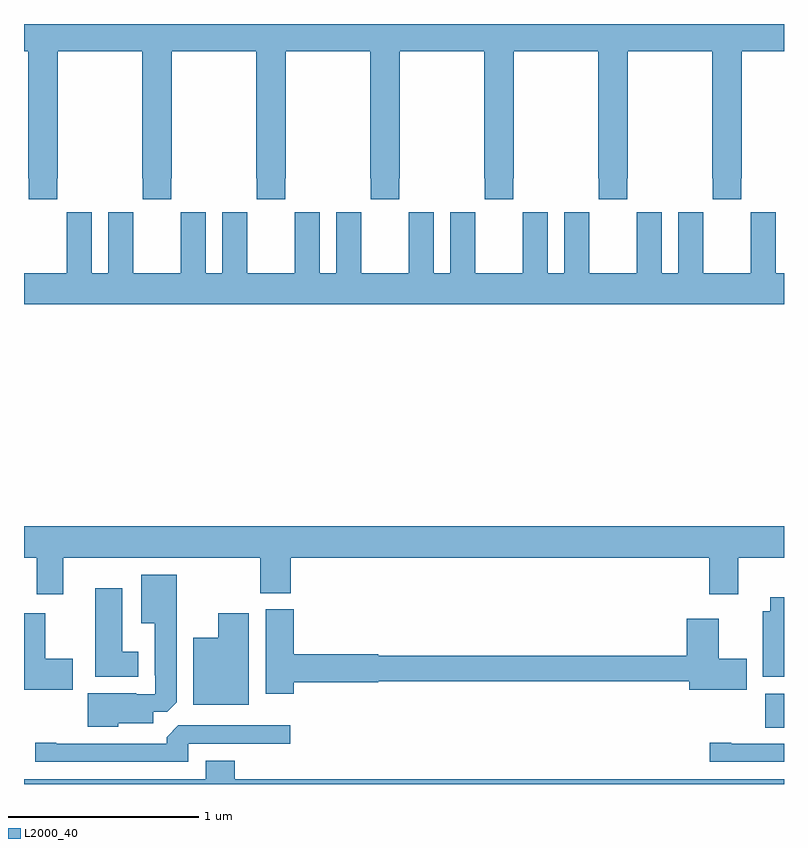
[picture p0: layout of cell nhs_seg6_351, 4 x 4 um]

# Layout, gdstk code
import gdstk
lib = gdstk.Library(unit=1e-6, precision=1e-09)
def R(c, l, rs):  # rectangles x0, y0, x1, y1
    for r in rs: c.add(gdstk.rectangle(r[:2], r[2:], *l))
def P(c, l, *ps):  # polygons
    for p in ps: c.add(gdstk.Polygon(p, *l))
L2000_40 = (2000, 40)

nhs_seg6_351 = lib.new_cell('nhs_seg6_351')
R(nhs_seg6_351, L2000_40, [(134.9,923.797,135,923.976)])
P(nhs_seg6_351, L2000_40, [(133.423,926.689),(133.425,926.689),(133.425,926.577),(133.575,926.577),(133.575,926.689),(133.578,926.689),(133.578,927.356),(134.023,927.356),(134.023,926.689),(134.025,926.689),(134.025,926.577),(134.175,926.577),(134.175,926.689),(134.178,926.689),(134.178,927.356),(134.623,927.356),(134.623,926.689),(134.625,926.689),(134.625,926.577),(134.775,926.577),(134.775,926.689),(134.778,926.689),(134.778,927.356),(135,927.356),(135,927.5),(131,927.5),(131,927.356),(131.023,927.356),(131.023,926.689),(131.025,926.689),(131.025,926.577),(131.175,926.577),(131.175,926.689),(131.178,926.689),(131.178,927.356),(131.623,927.356),(131.623,926.689),(131.625,926.689),(131.625,926.577),(131.775,926.577),(131.775,926.689),(131.778,926.689),(131.778,927.356),(132.223,927.356),(132.223,926.689),(132.225,926.689),(132.225,926.577),(132.375,926.577),(132.375,926.689),(132.378,926.689),(132.378,927.356),(132.823,927.356),(132.823,926.689),(132.825,926.689),(132.825,926.577),(132.975,926.577),(132.975,926.689),(132.978,926.689),(132.978,927.356),(133.423,927.356)],
  [(135,926.188),(134.956,926.188),(134.956,926.509),(134.826,926.509),(134.826,926.396),(134.825,926.396),(134.825,926.188),(134.575,926.188),(134.575,926.396),(134.574,926.396),(134.574,926.509),(134.444,926.509),(134.444,926.188),(134.356,926.188),(134.356,926.509),(134.226,926.509),(134.226,926.396),(134.225,926.396),(134.225,926.188),(133.975,926.188),(133.975,926.396),(133.974,926.396),(133.974,926.509),(133.844,926.509),(133.844,926.188),(133.756,926.188),(133.756,926.509),(133.626,926.509),(133.626,926.396),(133.625,926.396),(133.625,926.188),(133.375,926.188),(133.375,926.396),(133.374,926.396),(133.374,926.509),(133.244,926.509),(133.244,926.188),(133.156,926.188),(133.156,926.509),(133.026,926.509),(133.026,926.396),(133.025,926.396),(133.025,926.188),(132.775,926.188),(132.775,926.396),(132.774,926.396),(132.774,926.509),(132.644,926.509),(132.644,926.188),(132.556,926.188),(132.556,926.509),(132.426,926.509),(132.426,926.396),(132.425,926.396),(132.425,926.188),(132.175,926.188),(132.175,926.396),(132.174,926.396),(132.174,926.509),(132.044,926.509),(132.044,926.188),(131.956,926.188),(131.956,926.509),(131.826,926.509),(131.826,926.396),(131.825,926.396),(131.825,926.188),(131.575,926.188),(131.575,926.396),(131.574,926.396),(131.574,926.509),(131.444,926.509),(131.444,926.188),(131.356,926.188),(131.356,926.509),(131.226,926.509),(131.226,926.396),(131.225,926.396),(131.225,926.188),(131,926.188),(131,926.024),(135,926.024)],
  [(131.206,924.692),(132.244,924.692),(132.244,924.505),(132.404,924.505),(132.404,924.692),(134.606,924.692),(134.606,924.498),(134.758,924.498),(134.758,924.692),(135,924.692),(135,924.856),(131,924.856),(131,924.692),(131.066,924.692),(131.066,924.498),(131.206,924.498)],
  [(131.496,923.819),(131.68,923.819),(131.68,923.88),(131.754,923.88),(131.803,923.929),(131.803,924.601),(131.618,924.601),(131.618,924.347),(131.687,924.347),(131.687,924.073),(131.691,924.073),(131.691,923.973),(131.591,923.973),(131.591,923.977),(131.336,923.977),(131.336,923.801),(131.496,923.801)],
  [(131.602,924.196),(131.518,924.196),(131.518,924.529),(131.375,924.529),(131.375,924.065),(131.602,924.065)],
  [(135,924.484),(134.927,924.484),(134.927,924.409),(134.888,924.409),(134.888,924.065),(135,924.065)],
  [(132.419,924.035),(132.864,924.035),(132.864,924.04),(134.501,924.04),(134.501,923.996),(134.803,923.996),(134.803,924.159),(134.656,924.159),(134.656,924.37),(134.489,924.37),(134.489,924.176),(132.864,924.176),(132.864,924.182),(132.419,924.182),(132.419,924.42),(132.272,924.42),(132.272,923.976),(132.419,923.976)],
  [(132.184,924.4),(132.023,924.4),(132.023,924.271),(131.891,924.271),(131.891,923.918),(132.184,923.918)],
  [(131.257,924.159),(131.113,924.159),(131.113,924.4),(131,924.4),(131,923.996),(131.257,923.996)],
  [(131.865,923.712),(132.4,923.712),(132.4,923.808),(131.811,923.808),(131.75,923.746),(131.75,923.712),(131.17,923.712),(131.17,923.717),(131.058,923.717),(131.058,923.616),(131.865,923.616)],
  [(135,923.712),(134.722,923.712),(134.722,923.717),(134.61,923.717),(134.61,923.616),(135,923.616)],
  [(132.11,923.623),(131.957,923.623),(131.957,923.524),(131,923.524),(131,923.5),(135,923.5),(135,923.524),(132.11,923.524)])

lib.write_gds('nhs_seg6_351.gds')
